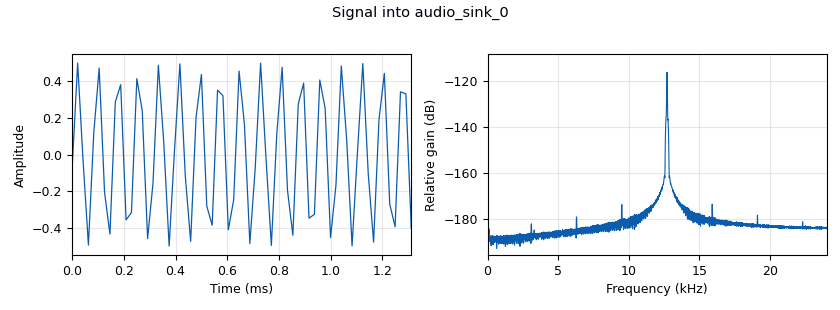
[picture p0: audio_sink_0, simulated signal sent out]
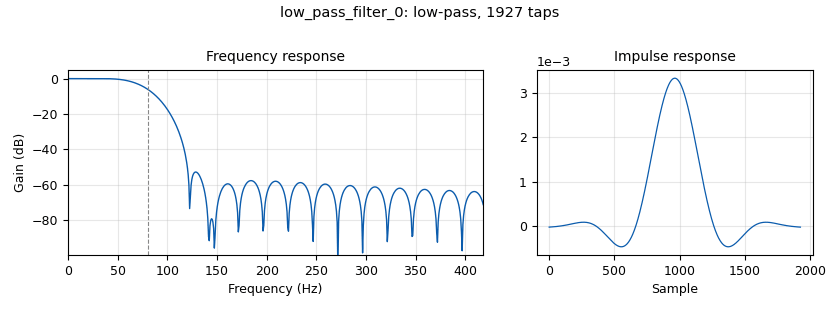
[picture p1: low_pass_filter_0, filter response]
options:
  parameters:
    author: LA7LKA
    description: CW test transmitter, sends CQ CQ CQ DE LA7LKA at the 12 kHz IF
    generate_options: qt_gui
    id: cw_test
    output_language: python
    title: CW test transmitter
  states: {}

blocks:
- name: dit_samples
  id: variable
  parameters:
    value: int(samp_rate * 1.2 / wpm)
  states: {}
- name: if_freq
  id: variable
  parameters:
    value: '12000'
  states: {}
- name: samp_rate
  id: variable
  parameters:
    value: '48000'
  states: {}
- name: tone
  id: variable
  parameters:
    value: '700'
  states: {}
- name: wpm
  id: variable
  parameters:
    value: '20'
  states: {}
- name: analog_sig_source_x_0
  id: analog_sig_source_x
  parameters:
    amp: '0.5'
    comment: carrier, IF plus the wanted pitch
    freq: if_freq + tone
    offset: '0'
    phase: '0'
    samp_rate: samp_rate
    type: float
    waveform: analog.GR_COS_WAVE
  states: {}
- name: audio_sink_0
  id: audio_sink
  parameters:
    device_name: plughw:CARD=USB,DEV=0
    samp_rate: samp_rate
  states: {}
- name: blocks_multiply_xx_0
  id: blocks_multiply_xx
  parameters:
    type: float
  states: {}
- name: blocks_repeat_0
  id: blocks_repeat
  parameters:
    comment: stretch each dit unit to real time
    interp: dit_samples
    type: float
  states: {}
- name: blocks_vector_source_x_0
  id: blocks_vector_source_x
  parameters:
    comment: CQ CQ CQ DE LA7LKA, one value per dit
    repeat: 'True'
    type: float
    vector: '[1.0, 1.0, 1.0, 0.0, 1.0, 0.0, 1.0, 1.0, 1.0, 0.0, 1.0, 0.0, 0.0, 0.0, 1.0, 1.0, 1.0, 0.0, 1.0, 1.0, 1.0, 0.0, 1.0, 0.0, 1.0, 1.0, 1.0, 0.0, 0.0, 0.0, 0.0, 0.0, 0.0, 0.0, 1.0, 1.0, 1.0, 0.0, 1.0, 0.0, 1.0, 1.0, 1.0, 0.0, 1.0, 0.0, 0.0, 0.0, 1.0, 1.0, 1.0, 0.0, 1.0, 1.0, 1.0, 0.0, 1.0, 0.0, 1.0, 1.0, 1.0, 0.0, 0.0, 0.0, 0.0, 0.0, 0.0, 0.0, 1.0, 1.0, 1.0, 0.0, 1.0, 0.0, 1.0, 1.0, 1.0, 0.0, 1.0, 0.0, 0.0, 0.0, 1.0, 1.0, 1.0, 0.0, 1.0, 1.0, 1.0, 0.0, 1.0, 0.0, 1.0, 1.0, 1.0, 0.0, 0.0, 0.0, 0.0, 0.0, 0.0, 0.0, 1.0, 1.0, 1.0, 0.0, 1.0, 0.0, 1.0, 0.0, 0.0, 0.0, 1.0, 0.0, 0.0, 0.0, 0.0, 0.0, 0.0, 0.0, 1.0, 0.0, 1.0, 1.0, 1.0, 0.0, 1.0, 0.0, 1.0, 0.0, 0.0, 0.0, 1.0, 0.0, 1.0, 1.0, 1.0, 0.0, 0.0, 0.0, 1.0, 1.0, 1.0, 0.0, 1.0, 1.0, 1.0, 0.0, 1.0, 0.0, 1.0, 0.0, 1.0, 0.0, 0.0, 0.0, 1.0, 0.0, 1.0, 1.0, 1.0, 0.0, 1.0, 0.0, 1.0, 0.0, 0.0, 0.0, 1.0, 1.0, 1.0, 0.0, 1.0, 0.0, 1.0, 1.0, 1.0, 0.0, 0.0, 0.0, 1.0, 0.0, 1.0, 1.0, 1.0, 0.0, 0.0, 0.0, 0.0, 0.0, 0.0, 0.0, 0.0, 0.0, 0.0]'
  states: {}
- name: low_pass_filter_0
  id: low_pass_filter
  parameters:
    comment: shape the keying edges, no clicks
    cutoff_freq: '80'
    decim: '1'
    gain: '1'
    samp_rate: samp_rate
    type: fir_filter_fff
    width: '60'
    win: window.WIN_HAMMING
  states: {}

connections:
- [analog_sig_source_x_0, '0', blocks_multiply_xx_0, '1']
- [blocks_multiply_xx_0, '0', audio_sink_0, '0']
- [blocks_repeat_0, '0', low_pass_filter_0, '0']
- [blocks_vector_source_x_0, '0', blocks_repeat_0, '0']
- [low_pass_filter_0, '0', blocks_multiply_xx_0, '0']

metadata:
  file_format: 1
  grc_version: 3.10.12.0
